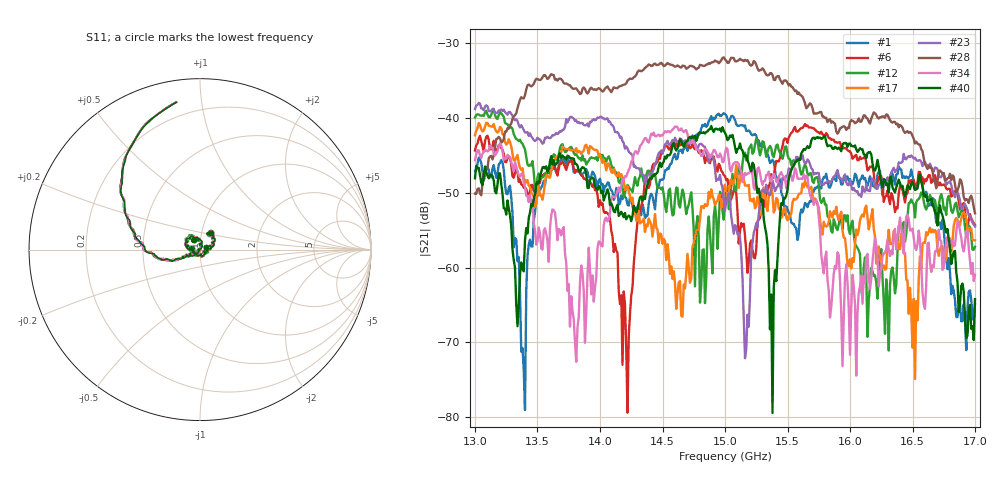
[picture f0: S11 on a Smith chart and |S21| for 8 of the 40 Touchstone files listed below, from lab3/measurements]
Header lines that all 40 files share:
!Keysight Technologies,P9374A,MY57211807,A.19.30.04
!Correction: S11(C  2-Port  )
!S21(C  2-Port  )
!S12(C  2-Port  )
!S22(C  2-Port  )
!S2P File: Measurements: S11, S21, S12, S22:
# Hz S  dB  R 50
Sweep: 13 GHz to 17 GHz
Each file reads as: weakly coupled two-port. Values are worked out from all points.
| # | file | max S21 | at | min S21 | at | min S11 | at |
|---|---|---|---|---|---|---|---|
| 1 | 1x8b24.s2p | -39.34 dB | 14.99 GHz | -79.0 dB | 13.4 GHz | -47.0 dB | 15.6 GHz |
| 2 | 1x8b26.s2p | -39.14 dB | 14.99 GHz | -74.0 dB | 13.36 GHz | -52.1 dB | 15.6 GHz |
| 3 | 1x8b28.s2p | -39.86 dB | 14.95 GHz | -66.9 dB | 16.94 GHz | -50.6 dB | 15.6 GHz |
| 4 | 1x8b30.s2p | -41.45 dB | 15.72 GHz | -64.2 dB | 15.34 GHz | -48.0 dB | 15.6 GHz |
| 5 | 1x8b32.s2p | -40.70 dB | 15.64 GHz | -73.1 dB | 14.24 GHz | -45.6 dB | 15.6 GHz |
| 6 | 1x8b34.s2p | -40.79 dB | 15.64 GHz | -79.4 dB | 14.22 GHz | -51.0 dB | 15.6 GHz |
| 7 | 1x8b36.s2p | -40.81 dB | 13.03 GHz | -73.5 dB | 14.16 GHz | -50.0 dB | 15.6 GHz |
| 8 | 1x8b38.s2p | -39.56 dB | 13.03 GHz | -66.8 dB | 14.15 GHz | -47.2 dB | 15.61 GHz |
| 9 | 1x8b40.s2p | -38.38 dB | 13.09 GHz | -71.7 dB | 15.16 GHz | -42.9 dB | 15.61 GHz |
| 10 | 1x8b42.s2p | -38.50 dB | 13.09 GHz | -74.3 dB | 15.08 GHz | -47.4 dB | 15.61 GHz |
| 11 | 1x8b44.s2p | -38.32 dB | 13.15 GHz | -78.2 dB | 16.21 GHz | -52.0 dB | 15.61 GHz |
| 12 | 1x8b46.s2p | -38.76 dB | 13.15 GHz | -71.1 dB | 16.31 GHz | -55.1 dB | 15.6 GHz |
| 13 | 1x8b48.s2p | -38.88 dB | 13.03 GHz | -76.3 dB | 16.32 GHz | -42.7 dB | 15.64 GHz |
| 14 | 1x8b50.s2p | -39.23 dB | 13.03 GHz | -67.8 dB | 16.44 GHz | -58.1 dB | 15.59 GHz |
| 15 | 1x8b52.s2p | -39.71 dB | 13.09 GHz | -76.2 dB | 16.42 GHz | -46.0 dB | 15.6 GHz |
| 16 | 1x8b54.s2p | -40.05 dB | 13.03 GHz | -72.7 dB | 16.52 GHz | -48.4 dB | 15.61 GHz |
| 17 | 1x8b56.s2p | -40.63 dB | 13.09 GHz | -74.9 dB | 16.52 GHz | -53.8 dB | 15.61 GHz |
| 18 | 1x8b58.s2p | -39.27 dB | 13.03 GHz | -67.8 dB | 16.58 GHz | -50.3 dB | 15.62 GHz |
| 19 | 1x8b60.s2p | -39.56 dB | 13.03 GHz | -76.1 dB | 15.22 GHz | -57.1 dB | 15.62 GHz |
| 20 | 1x8b62.s2p | -39.86 dB | 13.03 GHz | -69.1 dB | 15.31 GHz | -53.4 dB | 15.61 GHz |
| 21 | 1x8b64.s2p | -39.05 dB | 13.03 GHz | -81.7 dB | 15.33 GHz | -66.2 dB | 15.6 GHz |
| 22 | 1x8b66.s2p | -38.08 dB | 13.03 GHz | -61.7 dB | 15.16 GHz | -44.5 dB | 15.6 GHz |
| 23 | 1x8b68.s2p | -37.97 dB | 13.03 GHz | -72.1 dB | 15.16 GHz | -50.2 dB | 15.6 GHz |
| 24 | 1x8b70.s2p | -38.45 dB | 13.03 GHz | -64.1 dB | 15.13 GHz | -46.7 dB | 15.6 GHz |
| 25 | 1x8b.s2p | -28.56 dB | 15.06 GHz | -51.6 dB | 17 GHz | -51.6 dB | 15.72 GHz |
| 26 | 1x8c0.s2p | -28.45 dB | 15.05 GHz | -51.3 dB | 17 GHz | -60.4 dB | 13.84 GHz |
| 27 | 1x8c2.s2p | -29.13 dB | 15.05 GHz | -51.3 dB | 17 GHz | -53.6 dB | 13.75 GHz |
| 28 | 1x8c4.s2p | -31.86 dB | 14.99 GHz | -52.7 dB | 17 GHz | -45.2 dB | 15.6 GHz |
| 29 | 1x8c6.s2p | -35.50 dB | 15.06 GHz | -53.0 dB | 17 GHz | -47.0 dB | 15.64 GHz |
| 30 | 1x8c8.s2p | -37.67 dB | 13.55 GHz | -55.8 dB | 15.56 GHz | -50.7 dB | 15.62 GHz |
| 31 | 1x8c10.s2p | -39.81 dB | 13.61 GHz | -75.4 dB | 14.41 GHz | -48.5 dB | 15.62 GHz |
| 32 | 1x8c12.s2p | -40.16 dB | 15.02 GHz | -71.6 dB | 14.09 GHz | -61.4 dB | 15.6 GHz |
| 33 | 1x8c14.s2p | -39.02 dB | 14.61 GHz | -83.4 dB | 13.96 GHz | -50.6 dB | 15.6 GHz |
| 34 | 1x8c16.s2p | -41.13 dB | 14.6 GHz | -74.4 dB | 16.05 GHz | -46.2 dB | 15.63 GHz |
| 35 | 1x8c18.s2p | -43.45 dB | 13.2 GHz | -76.9 dB | 13.78 GHz | -48.4 dB | 15.62 GHz |
| 36 | 1x8c20.s2p | -44.46 dB | 14.98 GHz | -77.5 dB | 16.69 GHz | -61.0 dB | 15.64 GHz |
| 37 | 1x8c22.s2p | -40.00 dB | 14.96 GHz | -75.1 dB | 16.83 GHz | -50.7 dB | 15.6 GHz |
| 38 | 1x8c24.s2p | -38.97 dB | 14.96 GHz | -81.6 dB | 16.88 GHz | -46.8 dB | 15.64 GHz |
| 39 | 1x8c26.s2p | -39.07 dB | 14.98 GHz | -70.2 dB | 16.94 GHz | -55.6 dB | 15.64 GHz |
| 40 | 1x8c28.s2p | -41.05 dB | 14.89 GHz | -79.4 dB | 15.38 GHz | -47.9 dB | 15.59 GHz |
